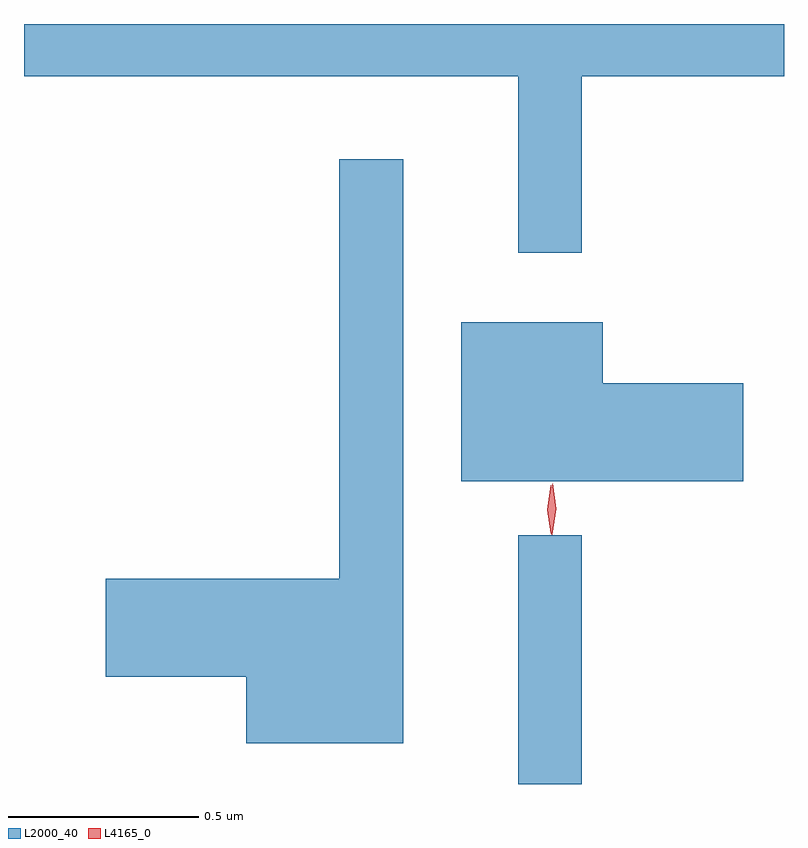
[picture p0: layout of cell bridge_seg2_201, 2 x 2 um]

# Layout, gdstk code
import gdstk
lib = gdstk.Library(unit=1e-6, precision=1e-09)
def R(c, l, rs):  # rectangles x0, y0, x1, y1
    for r in rs: c.add(gdstk.rectangle(r[:2], r[2:], *l))
def P(c, l, *ps):  # polygons
    for p in ps: c.add(gdstk.Polygon(p, *l))
L2000_40 = (2000, 40)
L4165_0 = (4165, 0)

bridge_seg2_201 = lib.new_cell('bridge_seg2_201')
R(bridge_seg2_201, L2000_40, [(817.261,1044.234,817.429,1044.888)])
P(bridge_seg2_201, L2000_40, [(817.429,1046.096),(817.961,1046.096),(817.961,1046.234),(815.961,1046.234),(815.961,1046.096),(817.261,1046.096),(817.261,1045.632),(817.429,1045.632)],
  [(816.959,1045.878),(816.791,1045.878),(816.791,1044.774),(816.176,1044.774),(816.176,1044.516),(816.546,1044.516),(816.546,1044.341),(816.959,1044.341)],
  [(817.854,1045.289),(817.484,1045.289),(817.484,1045.449),(817.111,1045.449),(817.111,1045.031),(817.854,1045.031)])
P(bridge_seg2_201, L4165_0, [(817.35,1044.89),(817.35,1044.89),(817.341,1044.958),(817.352,1045.025),(817.352,1045.026),(817.353,1045.025),(817.361,1044.958),(817.351,1044.89)],
  [(817.348,1044.893),(817.347,1044.894),(817.338,1044.956),(817.347,1045.02),(817.348,1045.02),(817.348,1045.02),(817.358,1044.956),(817.348,1044.894)])

lib.write_gds('bridge_seg2_201.gds')
